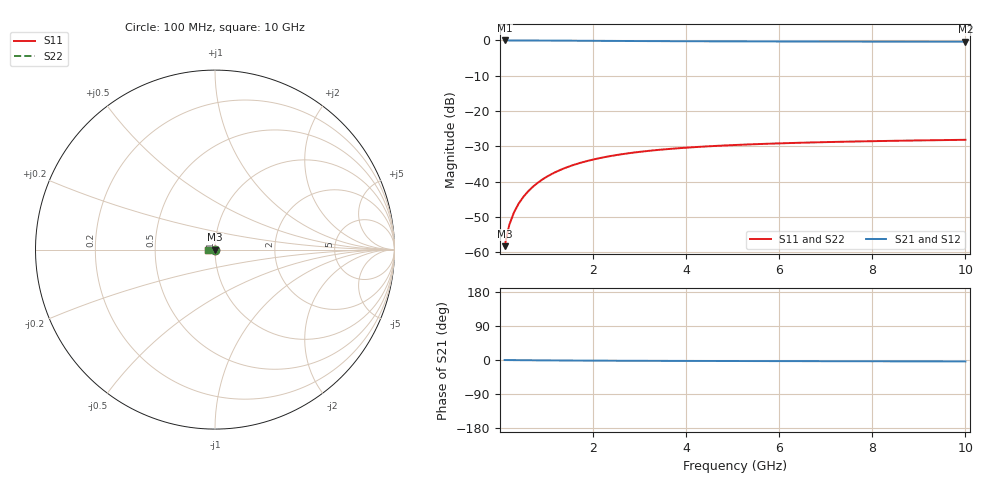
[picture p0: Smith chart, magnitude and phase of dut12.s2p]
! Touchstone file exported from HFSS 2024.1.0
!  File:  C:/UserFiles/LocalFiles/RDL_TSV_Batchsim/temp_TSV1_12_1779368323.aedt
!  Generated:  09:04:16 PM May 21, 2026
!  Design:  TSV1
!  Project:  temp_TSV1_12_1779368323
!  Setup:  Setup1
!  Solution:  Sweep
! Variables:
!  dtsv = 14.57um
!  hbump = 3um
!  htsv = 55.06um
!  lrdl = 252.1521522um
!  p = 40
!  p1 = 57.07um
!  t = 500um
!  trdl = 3um
!  wrdl = 24.89489489um
# GHz S MA R 50.000000
! Terminal data exported
! Port[1] = TSV22_T1
! Port[2] = TSV22_T2
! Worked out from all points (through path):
!   100 points, 100 MHz to 10 GHz, reference 50 ohm
!   highest |S21| = 0.00 dB at 100 MHz (marker M1); lowest = -0.4 dB at 10 GHz (marker M2)
!   lowest |S11| = -58.3 dB at 100 MHz (marker M3), VSWR 1.00, Z = 50 - j0.122 ohm
!   |S11| at or under -10 dB: start of sweep to end of sweep
!   |S22| runs from -58.3 to -28.1 dB; largest |S21 - S12| = 4.6e-15
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0.1  0.001223 -88.9  0.9999 -0.1  0.9999 -0.1  0.001223 -88.9
! Gamma 0 0 0 0
! Port Impedance 50 0 50 0
0.2  0.002444 -92.2  0.9997 -0.2  0.9997 -0.2  0.002444 -92.2
0.3  0.003662 -94.7  0.9995 -0.3  0.9995 -0.3  0.003662 -94.7
0.4  0.004872 -96.9  0.9992 -0.4  0.9992 -0.4  0.004872 -96.9
0.5  0.006068 -99.0  0.9988 -0.5  0.9988 -0.5  0.006068 -99.0
0.6  0.007244 -101.0  0.9984 -0.6  0.9984 -0.6  0.007244 -101.0
0.7  0.008398 -103.0  0.9979 -0.7  0.9979 -0.7  0.008398 -103.0
0.8  0.009526 -105.0  0.9973 -0.8  0.9973 -0.8  0.009526 -105.0
0.9  0.01063 -106.9  0.9967 -0.9  0.9967 -0.9  0.01063 -106.9
1.1  0.01274 -110.5  0.9953 -1.1  0.9953 -1.1  0.01274 -110.5
1.4  0.01565 -115.7  0.993 -1.3  0.993 -1.3  0.01565 -115.7
1.6  0.01743 -118.9  0.9914 -1.5  0.9914 -1.5  0.01743 -118.9
1.8  0.01907 -122.0  0.9897 -1.6  0.9897 -1.6  0.01907 -122.0
2.1  0.02129 -126.2  0.9872 -1.8  0.9872 -1.8  0.02129 -126.2
2.5  0.02383 -131.3  0.9841 -1.9  0.9841 -1.9  0.02383 -131.3
2.9  0.02597 -135.8  0.9812 -2.1  0.9812 -2.1  0.02597 -135.8
3.4  0.02819 -140.7  0.978 -2.3  0.978 -2.3  0.02819 -140.7
4.2  0.03093 -147.3  0.9738 -2.5  0.9738 -2.5  0.03093 -147.3
5.1  0.03319 -153.4  0.97 -2.7  0.97 -2.7  0.03319 -153.4
6.7  0.03595 -161.9  0.9654 -3.1  0.9654 -3.1  0.03595 -161.9
8.4  0.03788 -168.9  0.9621 -3.5  0.9621 -3.5  0.03788 -168.9
10  0.03919 -174.3  0.9601 -3.8  0.9601 -3.8  0.03919 -174.3
